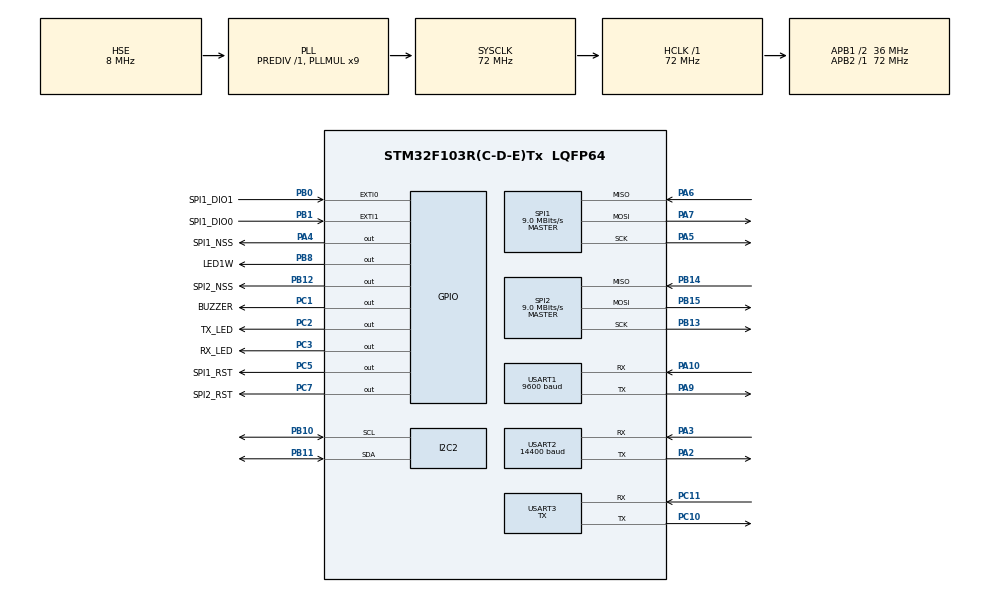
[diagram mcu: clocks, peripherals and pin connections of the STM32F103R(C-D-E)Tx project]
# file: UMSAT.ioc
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Dma.Request0=USART1_RX
Dma.USART1_RX.0.Direction=DMA_PERIPH_TO_MEMORY
Dma.USART1_RX.0.Instance=DMA1_Channel5
Dma.USART1_RX.0.MemDataAlignment=DMA_MDATAALIGN_BYTE
Dma.USART1_RX.0.MemInc=DMA_MINC_ENABLE
Dma.USART1_RX.0.Mode=DMA_CIRCULAR
Dma.USART1_RX.0.PeriphDataAlignment=DMA_PDATAALIGN_BYTE
Dma.USART1_RX.0.PeriphInc=DMA_PINC_DISABLE
Dma.USART1_RX.0.Priority=DMA_PRIORITY_LOW
FREERTOS.Tasks01=telemetriaTask,25,512,telemetriaTask01,Default,NULL,Dynamic,NULL,NULL;MorseTask,16,512,morseTask02,Default,NULL,Dynamic,NULL,NULL;secundaryTask,8,256,secundaryTask03,Default,NULL,Dynamic,NULL,NULL
FREERTOS.configTOTAL_HEAP_SIZE=8192
Mcu.Family=STM32F1
Mcu.Name=STM32F103R(C-D-E)Tx
Mcu.Package=LQFP64
NVIC.DMA1_Channel5_IRQn=true\:0\:0\:false\:false\:true\:true\:false\:true
NVIC.EXTI0_IRQn=true\:0\:0\:false\:false\:true\:false\:true\:true
NVIC.EXTI1_IRQn=true\:0\:0\:false\:false\:true\:false\:true\:true
NVIC.PriorityGroup=NVIC_PRIORITYGROUP_4
NVIC.TIM4_IRQn=true\:0\:0\:false\:false\:true\:false\:false\:true
NVIC.TimeBase=TIM4_IRQn
NVIC.TimeBaseIP=TIM4
NVIC.USART1_IRQn=true\:0\:0\:false\:false\:true\:true\:true\:true
PA10.Mode=Asynchronous
PA10.Signal=USART1_RX
PA13.Mode=Serial_Wire
PA13.Signal=SYS_JTMS-SWDIO
PA14.Mode=Serial_Wire
PA14.Signal=SYS_JTCK-SWCLK
PA2.Mode=Asynchronous
PA2.Signal=USART2_TX
PA3.Mode=Asynchronous
PA3.Signal=USART2_RX
PA4.GPIO_Label=SPI1_NSS
PA4.Signal=GPIO_Output
PA5.Mode=Full_Duplex_Master
PA5.Signal=SPI1_SCK
PA6.Mode=Full_Duplex_Master
PA6.Signal=SPI1_MISO
PA7.Mode=Full_Duplex_Master
PA7.Signal=SPI1_MOSI
PA9.Mode=Asynchronous
PA9.Signal=USART1_TX
PB0.GPIO_Label=SPI1_DIO1
PB0.Signal=GPXTI0
PB1.GPIO_Label=SPI1_DIO0
PB1.Signal=GPXTI1
PB10.Mode=I2C
PB10.Signal=I2C2_SCL
PB11.Mode=I2C
PB11.Signal=I2C2_SDA
PB12.GPIO_Label=SPI2_NSS
PB12.Signal=GPIO_Output
PB13.Mode=Full_Duplex_Master
PB13.Signal=SPI2_SCK
PB14.Mode=Full_Duplex_Master
PB14.Signal=SPI2_MISO
PB15.Mode=Full_Duplex_Master
PB15.Signal=SPI2_MOSI
PB8.GPIO_Label=LED1W
PB8.Signal=GPIO_Output
PC1.GPIO_Label=BUZZER
PC1.Signal=GPIO_Output
PC10.Mode=Asynchronous
PC10.Signal=USART3_TX
PC11.Mode=Asynchronous
PC11.Signal=USART3_RX
PC2.GPIO_Label=TX_LED
PC2.Signal=GPIO_Output
PC3.GPIO_Label=RX_LED
PC3.Signal=GPIO_Output
PC5.GPIO_Label=SPI1_RST
PC5.Signal=GPIO_Output
PC7.GPIO_Label=SPI2_RST
PC7.Signal=GPIO_Output
PD0-OSC_IN.Mode=HSE-External-Oscillator
PD0-OSC_IN.Signal=RCC_OSC_IN
PD1-OSC_OUT.Mode=HSE-External-Oscillator
PD1-OSC_OUT.Signal=RCC_OSC_OUT
ProjectManager.HeapSize=0x200
ProjectManager.StackSize=0x400
ProjectManager.TargetToolchain=MDK-ARM V5.27
RCC.AHBFreq_Value=72000000
RCC.APB1CLKDivider=RCC_HCLK_DIV2
RCC.APB1Freq_Value=36000000
RCC.APB1TimFreq_Value=72000000
RCC.APB2Freq_Value=72000000
RCC.APB2TimFreq_Value=72000000
RCC.HCLKFreq_Value=72000000
RCC.PLLMUL=RCC_PLL_MUL9
RCC.PLLSourceVirtual=RCC_PLLSOURCE_HSE
RCC.SYSCLKFreq_VALUE=72000000
RCC.SYSCLKSource=RCC_SYSCLKSOURCE_PLLCLK
RCC.USBFreq_Value=72000000
SPI1.BaudRatePrescaler=SPI_BAUDRATEPRESCALER_8
SPI1.CalculateBaudRate=9.0 MBits/s
SPI1.Direction=SPI_DIRECTION_2LINES
SPI1.Mode=SPI_MODE_MASTER
SPI1.VirtualType=VM_MASTER
SPI2.BaudRatePrescaler=SPI_BAUDRATEPRESCALER_4
SPI2.CalculateBaudRate=9.0 MBits/s
SPI2.Direction=SPI_DIRECTION_2LINES
SPI2.Mode=SPI_MODE_MASTER
SPI2.VirtualType=VM_MASTER
USART1.BaudRate=9600
USART1.Mode=MODE_TX_RX
USART1.VirtualMode=VM_ASYNC
USART2.BaudRate=14400
USART2.VirtualMode=VM_ASYNC
USART3.Mode=MODE_TX
USART3.VirtualMode=VM_ASYNC
VP_FREERTOS_VS_CMSIS_V2.Mode=CMSIS_V2
VP_SYS_VS_tim4.Mode=TIM4
board=custom

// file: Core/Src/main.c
/* USER CODE BEGIN Header */
/**
  ******************************************************************************
  * @file           : main.c
  * @brief          : Main program body
  ******************************************************************************
  * @attention
  *
  * <h2><center>&copy; Copyright (c) 2020 STMicroelectronics.
  * All rights reserved.</center></h2>
  *
  * This software component is licensed by ST under Ultimate Liberty license
  * SLA0044, the "License"; You may not use this file except in compliance with
  * the License. You may obtain a copy of the License at:
  *                             www.st.com/SLA0044
  *
  ******************************************************************************
  */
/* USER CODE END Header */
#include "main.h"
#include "cmsis_os.h"
#include "dma.h"
#include "i2c.h"
#include "spi.h"
#include "usart.h"
#include "gpio.h"

/* USER CODE BEGIN Includes */
#include "stdio.h"
#include "DMA_iddle.h"
/* USER CODE END Includes */

/* USER CODE BEGIN PTD */
#define DMA_RX_BUFFER_SIZE          600
uint8_t DMA_RX_Buffer[DMA_RX_BUFFER_SIZE];

#define UART_BUFFER_SIZE            256
uint8_t UART_Buffer[UART_BUFFER_SIZE];
uint8_t GPS_flag = 0;
/* USER CODE END PTD */

/* USER CODE BEGIN PM */
#ifdef __GNUC__
  /* With GCC, small printf (option LD Linker->Libraries->Small printf
     set to 'Yes') calls __io_putchar() */
  #define PUTCHAR_PROTOTYPE int __io_putchar(int ch)
#else
  #define PUTCHAR_PROTOTYPE int fputc(int ch, FILE *f)
#endif /* __GNUC__ */
/* USER CODE END PM */

/* USER CODE BEGIN PV */
uint16_t check_value =0;
uint8_t cont=0;

const uint8_t disableGLL[] = "$PUBX,40,GLL,0,0,0,0,0,0*5C";
const uint8_t disableGSA[] = "$PUBX,40,GSA,0,0,0,0,0,0*4E";
const uint8_t disableGSV[] = "$PUBX,40,GSV,0,0,0,0,0,0*59";
const uint8_t disableRMC[] = "$PUBX,40,RMC,0,0,0,0,0,0*47";
const uint8_t disableVTG[] = "$PUBX,40,VTG,0,0,0,0,0,0*5E";
const uint8_t baud115200[] = "$PUBX,41,1,0007,0003,19200,0*25z";
const uint8_t rate_500ms[] =	{0xB5,0x62,0x06,0x08,0x06,0x00,0xC2,0x01,0x01,0x00,0x01,0x00,0xD9,0x4B};
const uint8_t terminator[] = {0x0A,0x0D};
/* USER CODE END PV */

void SystemClock_Config(void);
void MX_FREERTOS_Init(void);

int main(void)
{

  /* MCU Configuration--------------------------------------------------------*/

  /* Reset of all peripherals, Initializes the Flash interface and the Systick. */
  HAL_Init();

  /* Configure the system clock */
  SystemClock_Config();

  /* Initialize all configured peripherals */
  MX_GPIO_Init();
  MX_DMA_Init();
  MX_USART3_UART_Init();
  MX_USART1_UART_Init();
  MX_I2C2_Init();
  MX_SPI1_Init();
  MX_SPI2_Init();
  MX_USART2_UART_Init();
  /* USER CODE BEGIN 2 */

	// GPIO config
	HAL_GPIO_WritePin(TX_LED_GPIO_Port, TX_LED_Pin, GPIO_PIN_SET);
	HAL_GPIO_WritePin(RX_LED_GPIO_Port, RX_LED_Pin, GPIO_PIN_SET);
	HAL_GPIO_WritePin(BUZZER_GPIO_Port, BUZZER_Pin, GPIO_PIN_RESET); //buzzer OFF
	HAL_GPIO_WritePin(LED1W_GPIO_Port, LED1W_Pin, GPIO_PIN_RESET); //led1W OFF

//	while(1)
//	{
//		HAL_GPIO_WritePin(BUZZER_GPIO_Port, BUZZER_Pin, GPIO_PIN_SET);
//		//HAL_GPIO_TogglePin(BUZZER_GPIO_Port, BUZZER_Pin);
//		HAL_Delay(1000);
//	}

	HAL_Delay(1000);
	// GPS config
	HAL_UART_Transmit(&huart1, (uint8_t *)disableGLL, 27, 100); HAL_UART_Transmit(&huart1, (uint8_t *)terminator, 2, 100);
	HAL_UART_Transmit(&huart1, (uint8_t *)disableGSA, 27, 100); HAL_UART_Transmit(&huart1, (uint8_t *)terminator, 2, 100);
	HAL_UART_Transmit(&huart1, (uint8_t *)disableGSV, 27, 100); HAL_UART_Transmit(&huart1, (uint8_t *)terminator, 2, 100);
	HAL_UART_Transmit(&huart1, (uint8_t *)disableRMC, 27, 100); HAL_UART_Transmit(&huart1, (uint8_t *)terminator, 2, 100);
	HAL_UART_Transmit(&huart1, (uint8_t *)disableVTG, 27, 100); HAL_UART_Transmit(&huart1, (uint8_t *)terminator, 2, 100);
	//HAL_UART_Transmit(&huart1, (uint8_t *)baud115200, 31, 100); HAL_UART_Transmit(&huart1, (uint8_t *)terminator, 2, 100);
	//huart1.Init.BaudRate = 19200;
	//HAL_UART_Init(&huart1);

	__HAL_UART_ENABLE_IT(&huart1, UART_IT_IDLE);   // enable idle line interrupt
	__HAL_DMA_ENABLE_IT (&hdma_usart1_rx, DMA_IT_TC);  // enable DMA Tx cplt interrupt

	__HAL_DMA_DISABLE_IT(&hdma_usart1_rx, DMA_IT_HT); 	// disable half complete interrupt
//	hdma_usart1_rx.Instance->CCR &= ~DMA_SxCR_HTIE;
	HAL_UART_Receive_DMA (&huart1, DMA_RX_Buffer, 350);

	//HAL_UART_Transmit(&huart1, (uint8_t *)rate_500ms, 14, 100);
  /* USER CODE END 2 */

  /* Init scheduler */
  osKernelInitialize();  /* Call init function for freertos objects (in freertos.c) */
  MX_FREERTOS_Init();
  /* Start scheduler */
  osKernelStart();

  /* We should never get here as control is now taken by the scheduler */
  /* Infinite loop */
  while (1)
  {

  }
}

void SystemClock_Config(void)
{
  RCC_OscInitTypeDef RCC_OscInitStruct = {0};
  RCC_ClkInitTypeDef RCC_ClkInitStruct = {0};

  /** Initializes the RCC Oscillators according to the specified parameters
  * in the RCC_OscInitTypeDef structure.
  */
  RCC_OscInitStruct.OscillatorType = RCC_OSCILLATORTYPE_HSE;
  RCC_OscInitStruct.HSEState = RCC_HSE_ON;
  RCC_OscInitStruct.HSEPredivValue = RCC_HSE_PREDIV_DIV1;
  RCC_OscInitStruct.HSIState = RCC_HSI_ON;
  RCC_OscInitStruct.PLL.PLLState = RCC_PLL_ON;
  RCC_OscInitStruct.PLL.PLLSource = RCC_PLLSOURCE_HSE;
  RCC_OscInitStruct.PLL.PLLMUL = RCC_PLL_MUL9;
  if (HAL_RCC_OscConfig(&RCC_OscInitStruct) != HAL_OK)
  {
    Error_Handler();
  }
  /** Initializes the CPU, AHB and APB buses clocks
  */
  RCC_ClkInitStruct.ClockType = RCC_CLOCKTYPE_HCLK|RCC_CLOCKTYPE_SYSCLK
                              |RCC_CLOCKTYPE_PCLK1|RCC_CLOCKTYPE_PCLK2;
  RCC_ClkInitStruct.SYSCLKSource = RCC_SYSCLKSOURCE_PLLCLK;
  RCC_ClkInitStruct.AHBCLKDivider = RCC_SYSCLK_DIV1;
  RCC_ClkInitStruct.APB1CLKDivider = RCC_HCLK_DIV2;
  RCC_ClkInitStruct.APB2CLKDivider = RCC_HCLK_DIV1;

  if (HAL_RCC_ClockConfig(&RCC_ClkInitStruct, FLASH_LATENCY_2) != HAL_OK)
  {
    Error_Handler();
  }
}

/* USER CODE BEGIN 4 */
PUTCHAR_PROTOTYPE
{
  /* Place your implementation of fputc here */
  /* e.g. write a character to the EVAL_COM1 and Loop until the end of transmission */
  HAL_UART_Transmit(&huart3, (uint8_t *)&ch, 1, 0xFFFF);

  return ch;
}

/* USER CODE END 4 */

void HAL_TIM_PeriodElapsedCallback(TIM_HandleTypeDef *htim)
{
  if (htim->Instance == TIM4) {
    HAL_IncTick();
  }
}

void Error_Handler(void)
{
}

/************************ (C) COPYRIGHT STMicroelectronics *****END OF FILE****/

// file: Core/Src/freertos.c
/* USER CODE BEGIN Header */
/**
  ******************************************************************************
  * File Name          : freertos.c
  * Description        : Code for freertos applications
  ******************************************************************************
  * @attention
  *
  * <h2><center>&copy; Copyright (c) 2020 STMicroelectronics.
  * All rights reserved.</center></h2>
  *
  * This software component is licensed by ST under Ultimate Liberty license
  * SLA0044, the "License"; You may not use this file except in compliance with
  * the License. You may obtain a copy of the License at:
  *                             www.st.com/SLA0044
  *
  ******************************************************************************
  */
/* USER CODE END Header */

#include "FreeRTOS.h"
#include "task.h"
#include "main.h"
#include "cmsis_os.h"

/* USER CODE BEGIN Includes */
#include "stdio.h"
#include <string.h>
#include "sensor.h"
#include "C1098.h"
#include "lora.h"
#include "spi.h"
#include "usart.h"
#include "i2c.h"
/* USER CODE END Includes */

/* USER CODE BEGIN PTD */
uint8_t TX_Buffer[256] = "1_1234567 2_1234567 3_1234567 4_1234567 5_1234567 6_1234567 7_1234567 8_1234567 9_1234567 10_123456 11_123456 12_123456 13_123456 14_123456 15_123456 16_123456 17_123456 18_123456 19_123456 20_123456 21_123456 22_123456 23_123456 24_123456 25_123456 12345";
uint8_t trama[50];
GPS_t GPS;
char	*str;

sensor_handle sensor;

SX1278_hw_t lora_hw;
SX1278_t lora;

SX1278_hw_t morse_hw;
SX1278_t morse;

c1098_handle camera;

extern uint8_t GPS_flag;
uint8_t rx_flag = 0;
uint8_t camera_flag = 0;
uint8_t telemetry_flag = 1;
uint32_t retardo = 2000;
#define max_size_JPEG 15000
uint8_t 	C1098_buffer[max_size_JPEG];
uint16_t	C1098_image_size;
float tempx=0;
char buffer[20];

/* USER CODE END PTD */

/* USER CODE BEGIN Variables */
#define DMA_RX_BUFFER_SIZE          600
extern uint8_t DMA_RX_Buffer[DMA_RX_BUFFER_SIZE];
extern uint8_t rx_flag;
/* USER CODE END Variables */
/* Definitions for telemetriaTask */
osThreadId_t telemetriaTaskHandle;
const osThreadAttr_t telemetriaTask_attributes = {
  .name = "telemetriaTask",
  .priority = (osPriority_t) osPriorityNormal1,
  .stack_size = 512 * 4
};
/* Definitions for MorseTask */
osThreadId_t MorseTaskHandle;
const osThreadAttr_t MorseTask_attributes = {
  .name = "MorseTask",
  .priority = (osPriority_t) osPriorityBelowNormal,
  .stack_size = 512 * 4
};
/* Definitions for secundaryTask */
osThreadId_t secundaryTaskHandle;
const osThreadAttr_t secundaryTask_attributes = {
  .name = "secundaryTask",
  .priority = (osPriority_t) osPriorityLow,
  .stack_size = 256 * 4
};

/* USER CODE BEGIN FunctionPrototypes */
void scan_I2C(void);
void parse(sensor_handle *sensor);
/* USER CODE END FunctionPrototypes */

void telemetriaTask01(void *argument);
void morseTask02(void *argument);
void secundaryTask03(void *argument);

void MX_FREERTOS_Init(void); /* (MISRA C 2004 rule 8.1) */

void MX_FREERTOS_Init(void) {

  /* Create the thread(s) */
  /* creation of telemetriaTask */
  telemetriaTaskHandle = osThreadNew(telemetriaTask01, NULL, &telemetriaTask_attributes);

  /* creation of MorseTask */
  MorseTaskHandle = osThreadNew(morseTask02, NULL, &MorseTask_attributes);

  /* creation of secundaryTask */
  secundaryTaskHandle = osThreadNew(secundaryTask03, NULL, &secundaryTask_attributes);

}

void telemetriaTask01(void *argument)
{
  /* USER CODE BEGIN telemetriaTask01 */
	lora_hw.nss.port = SPI1_NSS_GPIO_Port;
	lora_hw.nss.pin = SPI1_NSS_Pin;
	lora_hw.reset.port = SPI1_RST_GPIO_Port;
	lora_hw.reset.pin = SPI1_RST_Pin;
	lora_hw.spi = &hspi1;
	lora.hw = &lora_hw;

	camera.uart_port = &huart2;
	camera.packet_size = 256;
	camera.baudrate = 460800;
	camera.resolution = QVGA;
	CAMERARESULT camera_res;

	sensor.i2c_port = &hi2c2;
	/* Lora */
	SX1278_reset(&lora);
	osDelay(500);
	// ch = 48 (439MHz)
	// while( SX1278_BeginLora(&lora, BW_125, 48, SF_8, CR_7, 0x0008, 100, 0, 0x02, 5) == 0)
	while(SX1278_BeginLora(&lora, BW_125, 48, SF_11, CR_6, 0x0008, 100, 0, 0x02, 20) == 0){
		printf("Error Lora\n");
		HAL_GPIO_TogglePin(TX_LED_GPIO_Port, TX_LED_Pin);
		HAL_GPIO_TogglePin(RX_LED_GPIO_Port, RX_LED_Pin);
		osDelay(500);
	}
	printf("Lora Ok\n");
	while(camera_init(&camera) != CAMERA_OK){
		printf("Error Camera\n");
		HAL_GPIO_TogglePin(TX_LED_GPIO_Port, TX_LED_Pin);
		HAL_GPIO_TogglePin(RX_LED_GPIO_Port, RX_LED_Pin);
		osDelay(500);
	}
	printf("Camera Ok\n");
	HAL_GPIO_WritePin(TX_LED_GPIO_Port, TX_LED_Pin, GPIO_PIN_RESET);
	HAL_GPIO_WritePin(RX_LED_GPIO_Port, RX_LED_Pin, GPIO_PIN_RESET);
	osDelay(100);
	HAL_GPIO_WritePin(TX_LED_GPIO_Port, TX_LED_Pin, GPIO_PIN_SET);
	HAL_GPIO_WritePin(RX_LED_GPIO_Port, RX_LED_Pin, GPIO_PIN_SET);
	osDelay(100);
	HAL_GPIO_WritePin(TX_LED_GPIO_Port, TX_LED_Pin, GPIO_PIN_RESET);
	HAL_GPIO_WritePin(RX_LED_GPIO_Port, RX_LED_Pin, GPIO_PIN_RESET);
	osDelay(100);
	HAL_GPIO_WritePin(TX_LED_GPIO_Port, TX_LED_Pin, GPIO_PIN_SET);
	HAL_GPIO_WritePin(RX_LED_GPIO_Port, RX_LED_Pin, GPIO_PIN_SET);

	SX1278_receive(&lora);
	uint8_t cam_buffer[256];
	uint8_t packet_size=250;
	cam_buffer[0]=0x0F;
	osDelay(1000);
	scan_I2C();
	bmpconfig(&sensor);
	TMPconfig(&sensor);
	IMUconfig(&sensor);
	INAbegin(&sensor);
  /* Infinite loop */
  for(;;)
  {
	/************** cámara JPEG **************/
		if (camera_flag == 1)
		{
			while(snap_shot(&camera) != CAMERA_OK);
			camera_res = get_picture(&camera, C1098_buffer, max_size_JPEG, &C1098_image_size);

			uint8_t i=0;
			uint8_t packet=C1098_image_size/250;
			while( C1098_image_size > i*250 ) {
				if( (i+1)*250 > C1098_image_size ) packet_size = C1098_image_size - i*250;

				cam_buffer[1] = packet--;
				cam_buffer[2] = packet_size;
				memcpy(&cam_buffer[3],C1098_buffer+i*250, packet_size);
				//HAL_UART_Transmit(&huart3,header,3, HAL_MAX_DELAY);
				sx1278_transmit(&lora, cam_buffer, packet_size + 3);
				//HAL_UART_Transmit(&huart3,C1098_buffer+i*250, packet_size,HAL_MAX_DELAY);
				i++;
				osDelay(100);
			}
		packet_size = 250;
		camera_flag = 0;
		}

		/************** telemetría **************/
		if (telemetry_flag == 1)
		{
			parse(&sensor);
			sx1278_transmit(&lora, trama, 44);

		}
//			sx1278_transmit(&lora, (uint8_t *)"hola1", 5); //envío de telemetría

		/* detect valid header */
//		if( ((SX1278_ReadByte(&lora, REG_LR_IRQFLAGS) & RFLR_IRQFLAGS_VALIDHEADER_MASK) == RFLR_IRQFLAGS_VALIDHEADER) )
//		{
//			HAL_GPIO_WritePin(TX_LED_GPIO_Port,TX_LED_Pin, GPIO_PIN_RESET);
////////			osDelay(5);
////////			HAL_GPIO_WritePin(TX_LED_GPIO_Port,TX_LED_Pin, GPIO_PIN_SET);
//////			sx1278_clearIRQ(&lora);
//////			printf("CRC header\n");
//////			//osDelay(20000);
//		}

		osDelay(retardo);
		//HAL_GPIO_TogglePin(TX_LED_GPIO_Port,TX_LED_Pin);

  }
  /* USER CODE END telemetriaTask01 */
}

void morseTask02(void *argument)
{
  /* USER CODE BEGIN morseTask02 */
	morse_hw.nss.port = SPI2_NSS_GPIO_Port;
	morse_hw.nss.pin = SPI2_NSS_Pin;
	morse_hw.reset.port = SPI2_RST_GPIO_Port;
	morse_hw.reset.pin = SPI2_RST_Pin;
	morse_hw.spi = &hspi2;
	morse.hw = &morse_hw;
	SX1278_reset(&morse);
	SX1278_BeginMorse(&morse, 5, 19);
  /* Infinite loop */
  for(;;)
  {
		sprintf (buffer, "UMSAT-T%.2f",tempx);
		SX1278_transmitMorse(&morse, buffer, 11);
		//SX1278_transmitMorse(&morse, "UMSAT-1", 7);
//		HAL_GPIO_WritePin(LED1W_GPIO_Port, LED1W_Pin, GPIO_PIN_SET);
//		osDelay(10);
//		HAL_GPIO_WritePin(LED1W_GPIO_Port, LED1W_Pin, GPIO_PIN_RESET);
    osDelay(10000);
  }
  /* USER CODE END morseTask02 */
}

void secundaryTask03(void *argument)
{
  /* USER CODE BEGIN secundaryTask03 */
  /* Infinite loop */
  for(;;)
  {
		//char dest[100];
		//strcpy(dest,"$GNGGA,123519.542,4807.038,N,01131.000,E,1,08,0.9,545.4,M,46.9,M,,*47\n");
		//printf("%s\n",dest);
		if(GPS_flag == 1){
		//if(1){
			GPS_Process(&GPS,(uint8_t *) DMA_RX_Buffer);

			//printf("LON = %f\n",GPS.GNGGA.LongitudeDecimal);
			//printf("LAT = %f\n",GPS.GNGGA.LatitudeDecimal);
			//printf("%s",DMA_RX_Buffer);
			//HAL_GPIO_WritePin(TX_LED_GPIO_Port,TX_LED_Pin, GPIO_PIN_RESET);
			//osDelay(50);
			//HAL_GPIO_WritePin(TX_LED_GPIO_Port,TX_LED_Pin, GPIO_PIN_SET);
			GPS_flag=0;
		}

		/* decodificación de comando */

    //osDelay(1000);
  }
  /* USER CODE END secundaryTask03 */
}

/* USER CODE BEGIN Application */
void scan_I2C(void)
{
		HAL_StatusTypeDef result;
		printf("Scanning...\n");
		for (int i=1; i<128; i++)
		{
			/*
			 * the HAL wants a left aligned i2c address
			 * &hi2c1 is the handle
			 * (uint16_t)(i<<1) is the i2c address left aligned
			 * retries 2
			 * timeout 2
			 */
			result = HAL_I2C_IsDeviceReady(&hi2c2, (uint8_t)(i<<1), 2, 2);
			if (result != HAL_OK) // HAL_ERROR or HAL_BUSY or HAL_TIMEOUT
			{
				//printf("."); // No ACK received at that address
			}
			if (result == HAL_OK)
			{
				printf("0x%.2X\n", i); // Received an ACK at that address
			}
		}
		printf("END\n");

}

void parse(sensor_handle *sensor)
{
		trama[0]= 0x0D;
//		trama[1]= tiempo++;
//		trama[2]= 0x00;
		trama[1]= 5;
		trama[2]= 0x00;
		//presion
		float presion = bmpPress(sensor) * 100;
		  printf("P = %f [PA*100]\n", presion/100);
		uint32_t presion32 = (uint32_t) presion;
		trama[3]= (presion32 & 0xFF);
		trama[4]= (presion32>>8 & 0xFF);
		trama[5]= (presion32>>16 & 0xFF);
		//altura
		float altura = bmpAlt(sensor, 1033.25) * 10;
		// printf("A = %f [m*10]\n", altura/10);
		uint16_t altura16 = (uint16_t) altura;
		trama[6]= (altura16 & 0xFF);
		trama[7]= (altura16>>8 & 0xFF);
		//temperatura
		float temperatura = TMPtemp(sensor) * 10;
		tempx=temperatura/10;
		// printf("T = %f [C*10]\n", temperatura/10);
		uint16_t temp16 = (uint16_t) temperatura;
		trama[8]= (temp16 & 0xFF);
		trama[9]= (temp16>>8 & 0xFF);
		////////////////////////////////////////////////////////
		// printf("T2 = %f\n",bmpTemp(sensor));
		////////////////////////////////////////////////////////

//		// voltaje panel
//		trama[10]= 0x01;
//		trama[11]= 0x00;
//		// corriente panel
//		trama[12]= 0x64;
//		trama[13]= 0x00;
//
//		// voltaje bateria
//		trama[14]= 0x01;
//		trama[15]= 0x00;
//		// corriente bateria
//		trama[16]= 0x64;
//		trama[17]= 0x00;

		// voltaje solar
		float VoltajeSol = INA219_BusV(sensor,INA219solar)*100;
		//printf("VSOL = %f [v]\n", VoltajeSol/100);
		  //printf("V= %f\n", VoltajeBat);
		uint16_t Voltaje16 = (uint16_t)VoltajeSol;
		trama[10]= (Voltaje16 & 0xFF);
		trama[11]= (Voltaje16>>8 & 0xFF);
		//corriente solar
		float CorrienteSol = INA219_Current(sensor,INA219solar)*100;
		//printf("CSOL = %f [A]\n", CorrienteSol/100);
		  //printf("C= %f\n\n", CorrienteBat);
		uint16_t current16 = (uint16_t) CorrienteSol;
		trama[12]= (current16 & 0xFF);
		trama[13]= (current16>>8 & 0xFF);
//
		// voltaje bateria
		float VoltajeBat = INA219_BusV(sensor,INA219cell)*100;
		//printf("VBAT = %f [v]\n", VoltajeBat/100);
		  //printf("V= %f\n", VoltajeBat);
		Voltaje16 = (uint16_t)VoltajeBat;
		trama[14]= (Voltaje16 & 0xFF);
		trama[15]= (Voltaje16>>8 & 0xFF);
		//corriente bateria
		float CorrienteBat = INA219_Current(sensor,INA219cell)*100;
		//printf("CBAT = %f [A]\n", CorrienteBat/100);
		  //printf("C= %f\n\n", CorrienteBat);
		current16 = (uint16_t) CorrienteBat;
		trama[16]= (current16 & 0xFF);
		trama[17]= (current16>>8 & 0xFF);
//
		if(GPS_flag != 1)
		{
			//GPS lat
			//lat = lat + 0.0001;
			int32_t lat32 = (int32_t) (GPS.GNGGA.LatitudeDecimal*10000000);
			trama[18]= lat32 & 0xFF;
			trama[19]= lat32>>8 & 0xFF;
			trama[20]= lat32>>16 & 0xFF;
			trama[21]= lat32>>24 & 0xFF;

			//GPA lon
			//lon = lon + 0.0001;
			int32_t lon32 = (int32_t) (GPS.GNGGA.LongitudeDecimal*10000000);
			trama[22]= lon32 & 0xFF;
			trama[23]= lon32>>8 & 0xFF;

			trama[24]= lon32>>16 & 0xFF;
			trama[25]= lon32>>24 & 0xFF;
		}

		readIMU(sensor);
		//MAG XYZ +- 6000 uT
		float magX = IMUread_MagX(sensor);
		float magY = IMUread_MagY(sensor);
		float magZ = IMUread_MagZ(sensor);
		int16_t magX16 = (int16_t)magX;
		int16_t magY16 = (int16_t)magY;
		int16_t magZ16 = (int16_t)magZ;
		trama[26]= (magX16 & 0xFF);
		trama[27]= (magX16>>8 & 0xFF);
		trama[28]= (magY16 & 0xFF);
		trama[29]= (magY16>>8 & 0xFF);
		trama[30]= (magZ16 & 0xFF);
		trama[31]= (magZ16>>8 & 0xFF);
//
		//ACEL XYZ +- 20.0 m/s/s
		float acelX =IMUread_AcelX(sensor)*10;
		float acelY =IMUread_AcelY(sensor)*10;
		float acelZ =IMUread_AcelZ(sensor)*10;
		//printf("%f,%f,%f\n",acelX,acelY,acelZ);
		 //printf("%f,%f,%f\n",IMUread_AcelX(sensor), IMUread_AcelY(sensor),IMUread_AcelZ(sensor));
		int16_t acelX16 = (int16_t)acelX;
		int16_t acelY16 = (int16_t)acelY;
		int16_t acelZ16 = (int16_t)acelZ;
		trama[32]= (acelX16 & 0xFF);
		trama[33]= (acelX16>>8 & 0xFF);
		trama[34]= (acelY16 & 0xFF);
		trama[35]= (acelY16>>8 & 0xFF);
		trama[36]= (acelZ16 & 0xFF);
		trama[37]= (acelZ16>>8 & 0xFF);
//
		//GYR XYZ +- 100
		float gyrX = IMUread_GyrX(sensor)*10;
		float gyrY = IMUread_GyrY(sensor)*10;
		float gyrZ = IMUread_GyrZ(sensor)*10;
		int16_t gyrX16 = (int16_t)gyrX;
		int16_t gyrY16 = (int16_t)gyrY;
		int16_t gyrZ16 = (int16_t)gyrZ;
		trama[38]= (gyrX16 & 0xFF);
		trama[39]= (gyrX16>>8 & 0xFF);
		trama[40]= (gyrY16 & 0xFF);
		trama[41]= (gyrY16>>8 & 0xFF);
		trama[42]= (gyrZ16 & 0xFF);
		trama[43]= (gyrZ16>>8 & 0xFF);
}
/* USER CODE END Application */

/************************ (C) COPYRIGHT STMicroelectronics *****END OF FILE****/
